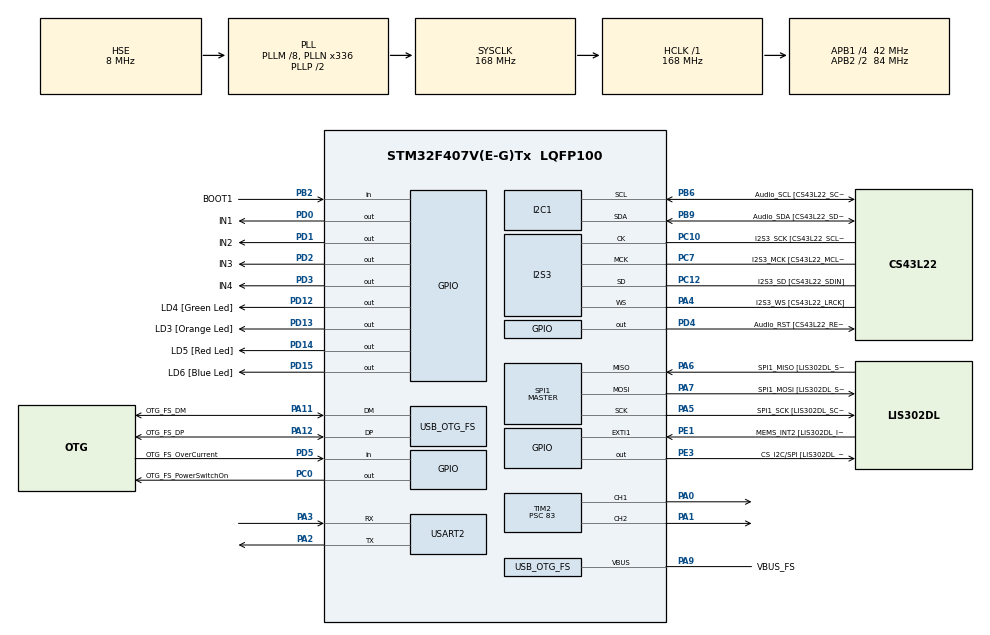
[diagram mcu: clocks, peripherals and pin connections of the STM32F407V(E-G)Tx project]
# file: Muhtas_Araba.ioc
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I2S3.AudioFreq-Half_Duplex_Master=I2S_AUDIOFREQ_96K
I2S3.ErrorAudioFreq=-2.34 %
I2S3.ErrorAudioFreq-Half_Duplex_Master=0.8 %
I2S3.FullDuplexMode=I2S_FULLDUPLEXMODE_DISABLE
I2S3.Instance=SPI$Index
I2S3.RealAudioFreq=93.75 KHz
I2S3.RealAudioFreq-Half_Duplex_Master=96.774 KHz
I2S3.VirtualMode=I2S_MODE_MASTER
Mcu.Family=STM32F4
Mcu.Name=STM32F407V(E-G)Tx
Mcu.Package=LQFP100
NVIC.OTG_FS_IRQn=true\:0\:0\:false\:false\:true\:true\:true\:true
NVIC.PriorityGroup=NVIC_PRIORITYGROUP_0
NVIC.USART2_IRQn=true\:0\:0\:false\:false\:true\:true\:true\:true
PA0-WKUP.Signal=S_TIM2_CH1_ETR
PA1.Signal=S_TIM2_CH2
PA10.GPIO_Label=OTG_FS_ID
PA10.GPIO_Mode=GPIO_MODE_AF_PP
PA10.GPIO_PuPd=GPIO_NOPULL
PA10.GPIO_Speed=GPIO_SPEED_FREQ_LOW
PA10.Signal=USB_OTG_FS_ID
PA11.GPIO_Label=OTG_FS_DM
PA11.GPIO_Mode=GPIO_MODE_AF_PP
PA11.GPIO_PuPd=GPIO_NOPULL
PA11.GPIO_Speed=GPIO_SPEED_FREQ_LOW
PA11.Mode=Host_Only
PA11.Signal=USB_OTG_FS_DM
PA12.GPIO_Label=OTG_FS_DP
PA12.GPIO_Mode=GPIO_MODE_AF_PP
PA12.GPIO_PuPd=GPIO_NOPULL
PA12.GPIO_Speed=GPIO_SPEED_FREQ_LOW
PA12.Mode=Host_Only
PA12.Signal=USB_OTG_FS_DP
PA13.GPIO_Label=SWDIO
PA13.Mode=Serial_Wire
PA13.Signal=SYS_JTMS-SWDIO
PA14.GPIO_Label=SWCLK
PA14.Mode=Serial_Wire
PA14.Signal=SYS_JTCK-SWCLK
PA2.Mode=Asynchronous
PA2.Signal=USART2_TX
PA3.Mode=Asynchronous
PA3.Signal=USART2_RX
PA4.GPIO_Label=I2S3_WS [CS43L22_LRCK]
PA4.GPIO_Mode=GPIO_MODE_AF_PP
PA4.GPIO_PuPd=GPIO_NOPULL
PA4.GPIO_Speed=GPIO_SPEED_FREQ_LOW
PA4.Mode=Half_Duplex_Master
PA4.Signal=I2S3_WS
PA5.GPIO_Label=SPI1_SCK [LIS302DL_SCL/SPC]
PA5.GPIO_Mode=GPIO_MODE_AF_PP
PA5.GPIO_PuPd=GPIO_NOPULL
PA5.GPIO_Speed=GPIO_SPEED_FREQ_LOW
PA5.Mode=Full_Duplex_Master
PA5.Signal=SPI1_SCK
PA6.GPIO_Label=SPI1_MISO [LIS302DL_SDO]
PA6.GPIO_Mode=GPIO_MODE_AF_PP
PA6.GPIO_PuPd=GPIO_NOPULL
PA6.GPIO_Speed=GPIO_SPEED_FREQ_LOW
PA6.Mode=Full_Duplex_Master
PA6.Signal=SPI1_MISO
PA7.GPIO_Label=SPI1_MOSI [LIS302DL_SDA/SDI/SDO]
PA7.GPIO_Mode=GPIO_MODE_AF_PP
PA7.GPIO_PuPd=GPIO_NOPULL
PA7.GPIO_Speed=GPIO_SPEED_FREQ_LOW
PA7.Mode=Full_Duplex_Master
PA7.Signal=SPI1_MOSI
PA9.GPIO_Label=VBUS_FS
PA9.GPIO_Mode=GPIO_MODE_INPUT
PA9.GPIO_PuPd=GPIO_NOPULL
PA9.Mode=Activate_VBUS
PA9.Signal=USB_OTG_FS_VBUS
PB10.GPIO_Label=CLK_IN [MP45DT02_CLK]
PB10.GPIO_Mode=GPIO_MODE_AF_PP
PB10.GPIO_PuPd=GPIO_NOPULL
PB10.GPIO_Speed=GPIO_SPEED_FREQ_LOW
PB10.Signal=I2S2_CK
PB2.GPIO_Label=BOOT1
PB2.GPIO_Mode=GPIO_MODE_INPUT
PB2.GPIO_PuPd=GPIO_NOPULL
PB2.Signal=GPIO_Input
PB3.GPIO_Label=SWO
PB3.Signal=SYS_JTDO-SWO
PB6.GPIO_Label=Audio_SCL [CS43L22_SCL]
PB6.GPIO_Mode=GPIO_MODE_AF_OD
PB6.GPIO_Pu=GPIO_PULLUP
PB6.GPIO_PuPd=GPIO_NOPULL
PB6.GPIO_Speed=GPIO_SPEED_FREQ_LOW
PB6.Mode=I2C
PB6.Signal=I2C1_SCL
PB9.GPIO_Label=Audio_SDA [CS43L22_SDA]
PB9.GPIO_Mode=GPIO_MODE_AF_OD
PB9.GPIO_Pu=GPIO_PULLUP
PB9.GPIO_PuPd=GPIO_NOPULL
PB9.GPIO_Speed=GPIO_SPEED_FREQ_LOW
PB9.Mode=I2C
PB9.Signal=I2C1_SDA
PC0.GPIO_Label=OTG_FS_PowerSwitchOn
PC0.GPIO_PuPd=GPIO_NOPULL
PC0.GPIO_Speed=GPIO_SPEED_FREQ_LOW
PC0.PinState=GPIO_PIN_SET
PC0.Signal=GPIO_Output
PC10.GPIO_Label=I2S3_SCK [CS43L22_SCLK]
PC10.GPIO_Mode=GPIO_MODE_AF_PP
PC10.GPIO_PuPd=GPIO_NOPULL
PC10.GPIO_Speed=GPIO_SPEED_FREQ_LOW
PC10.Mode=Half_Duplex_Master
PC10.Signal=I2S3_CK
PC12.GPIO_Label=I2S3_SD [CS43L22_SDIN]
PC12.GPIO_Mode=GPIO_MODE_AF_PP
PC12.GPIO_PuPd=GPIO_NOPULL
PC12.GPIO_Speed=GPIO_SPEED_FREQ_LOW
PC12.Mode=Half_Duplex_Master
PC12.Signal=I2S3_SD
PC14-OSC32_IN.GPIO_Label=PC14-OSC32_IN
PC14-OSC32_IN.Mode=LSE-External-Oscillator
PC14-OSC32_IN.Signal=RCC_OSC32_IN
PC15-OSC32_OUT.GPIO_Label=PC15-OSC32_OUT
PC15-OSC32_OUT.Mode=LSE-External-Oscillator
PC15-OSC32_OUT.Signal=RCC_OSC32_OUT
PC3.GPIO_Label=PDM_OUT [MP45DT02_DOUT]
PC3.GPIO_Mode=GPIO_MODE_AF_PP
PC3.GPIO_PuPd=GPIO_NOPULL
PC3.GPIO_Speed=GPIO_SPEED_FREQ_LOW
PC3.Signal=I2S2_SD
PC7.GPIO_Label=I2S3_MCK [CS43L22_MCLK]
PC7.GPIO_Mode=GPIO_MODE_AF_PP
PC7.GPIO_PuPd=GPIO_NOPULL
PC7.GPIO_Speed=GPIO_SPEED_FREQ_LOW
PC7.Mode=Master_Clock_Activated
PC7.Signal=I2S3_MCK
PD0.GPIO_Label=IN1
PD0.Signal=GPIO_Output
PD1.GPIO_Label=IN2
PD1.Signal=GPIO_Output
PD12.GPIO_Label=LD4 [Green Led]
PD12.GPIO_PuPd=GPIO_NOPULL
PD12.GPIO_Speed=GPIO_SPEED_FREQ_LOW
PD12.Signal=GPIO_Output
PD13.GPIO_Label=LD3 [Orange Led]
PD13.GPIO_PuPd=GPIO_NOPULL
PD13.GPIO_Speed=GPIO_SPEED_FREQ_LOW
PD13.Signal=GPIO_Output
PD14.GPIO_Label=LD5 [Red Led]
PD14.GPIO_PuPd=GPIO_NOPULL
PD14.GPIO_Speed=GPIO_SPEED_FREQ_LOW
PD14.Signal=GPIO_Output
PD15.GPIO_Label=LD6 [Blue Led]
PD15.GPIO_PuPd=GPIO_NOPULL
PD15.GPIO_Speed=GPIO_SPEED_FREQ_LOW
PD15.Signal=GPIO_Output
PD2.GPIO_Label=IN3
PD2.Signal=GPIO_Output
PD3.GPIO_Label=IN4
PD3.Signal=GPIO_Output
PD4.GPIO_Label=Audio_RST [CS43L22_RESET]
PD4.GPIO_PuPd=GPIO_NOPULL
PD4.GPIO_Speed=GPIO_SPEED_FREQ_LOW
PD4.Signal=GPIO_Output
PD5.GPIO_Label=OTG_FS_OverCurrent
PD5.GPIO_Mode=GPIO_MODE_INPUT
PD5.GPIO_PuPd=GPIO_NOPULL
PD5.Signal=GPIO_Input
PE1.GPIO_Label=MEMS_INT2 [LIS302DL_INT2]
PE1.GPIO_ModeDefaultEXTI=GPIO_MODE_EVT_RISING
PE1.GPIO_PuPd=GPIO_NOPULL
PE1.Signal=GPXTI1
PE3.GPIO_Label=CS_I2C/SPI [LIS302DL_CS_I2C/SPI]
PE3.GPIO_PuPd=GPIO_NOPULL
PE3.GPIO_Speed=GPIO_SPEED_FREQ_LOW
PE3.Signal=GPIO_Output
PH0-OSC_IN.GPIO_Label=PH0-OSC_IN
PH0-OSC_IN.Mode=HSE-External-Oscillator
PH0-OSC_IN.Signal=RCC_OSC_IN
PH1-OSC_OUT.GPIO_Label=PH1-OSC_OUT
PH1-OSC_OUT.Mode=HSE-External-Oscillator
PH1-OSC_OUT.Signal=RCC_OSC_OUT
ProjectManager.HeapSize=0x200
ProjectManager.StackSize=0x400
ProjectManager.TargetToolchain=STM32CubeIDE
RCC.48MHZClocksFreq_Value=48000000
RCC.AHBFreq_Value=168000000
RCC.APB1CLKDivider=RCC_HCLK_DIV4
RCC.APB1Freq_Value=42000000
RCC.APB1TimFreq_Value=84000000
RCC.APB2CLKDivider=RCC_HCLK_DIV2
RCC.APB2Freq_Value=84000000
RCC.APB2TimFreq_Value=168000000
RCC.CortexFreq_Value=168000000
RCC.HCLKFreq_Value=168000000
RCC.HSE_VALUE=8000000
RCC.HSI_VALUE=16000000
RCC.PLLM=8
RCC.PLLN=336
RCC.PLLQ=7
RCC.SYSCLKFreq_VALUE=168000000
RCC.SYSCLKSource=RCC_SYSCLKSOURCE_PLLCLK
RCC.VCOOutputFreq_Value=336000000
SH.S_TIM2_CH1_ETR.0=TIM2_CH1,PWM Generation1 CH1
SH.S_TIM2_CH2.0=TIM2_CH2,PWM Generation2 CH2
SPI1.BaudRatePrescaler-Full_Duplex_Master=SPI_BAUDRATEPRESCALER_2
SPI1.CalculateBaudRate-Full_Duplex_Master=42.0 MBits/s
SPI1.Direction=SPI_DIRECTION_2LINES
SPI1.Mode=SPI_MODE_MASTER
SPI1.Mode-Full_Duplex_Master=SPI_MODE_MASTER
SPI1.VirtualType=VM_MASTER
TIM2.Channel-PWM\ Generation1\ CH1=TIM_CHANNEL_1
TIM2.Channel-PWM\ Generation2\ CH2=TIM_CHANNEL_2
TIM2.Period=999
TIM2.Prescaler=83
USART2.VirtualMode=VM_ASYNC
USB_HOST.BSP.number=1
USB_HOST.USBH_HandleTypeDef-CDC_FS=hUsbHostFS
USB_HOST.VirtualModeFS=Cdc
USB_HOST0.BSP.STBoard=false
USB_HOST0.BSP.api=Unknown
USB_HOST0.BSP.instance=PC0
USB_HOST0.BSP.ip=GPIO
USB_HOST0.BSP.mode=Output
USB_HOST0.BSP.name=Drive_VBUS_FS
USB_HOST0.BSP.solution=PC0
USB_OTG_FS.VirtualMode=Host_Only
USB_OTG_FS.phy_itface=HCD_PHY_EMBEDDED
VP_TIM2_VS_ClockSourceINT.Mode=Internal
VP_USB_HOST_VS_USB_HOST_CDC_FS.Mode=CDC_FS
board=STM32F407G-DISC1

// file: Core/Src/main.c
/* USER CODE BEGIN Header */
/**
  ******************************************************************************
  * @file           : main.c
  * @brief          : Main program body
  ******************************************************************************
  * @attention
  *
  * Copyright (c) 2026 STMicroelectronics.
  * All rights reserved.
  *
  * This software is licensed under terms that can be found in the LICENSE file
  * in the root directory of this software component.
  * If no LICENSE file comes with this software, it is provided AS-IS.
  *
  ******************************************************************************
  */
/* USER CODE END Header */
#include "main.h"
#include "usb_host.h"

I2C_HandleTypeDef hi2c1;

I2S_HandleTypeDef hi2s3;

SPI_HandleTypeDef hspi1;

TIM_HandleTypeDef htim2;

UART_HandleTypeDef huart2;

/* USER CODE BEGIN PV */

uint8_t gelen_veri;
uint8_t yeni_mi=0;
/* USER CODE END PV */

void SystemClock_Config(void);
static void MX_GPIO_Init(void);
static void MX_I2C1_Init(void);
static void MX_I2S3_Init(void);
static void MX_SPI1_Init(void);
static void MX_TIM2_Init(void);
static void MX_USART2_UART_Init(void);
void MX_USB_HOST_Process(void);

/* USER CODE BEGIN PFP */
void Motor_ileri(uint16_t hiz);
void Motor_Geri(uint16_t hiz);
void Motor_Dur(void);
void Motor_Sag(uint16_t hiz);
void Motor_Sol(uint16_t hiz);

/* USER CODE END PFP */

/* USER CODE BEGIN 0 */

	void Motor_ileri(uint16_t hiz)
	{
		HAL_GPIO_WritePin(GPIOD, IN1_Pin, GPIO_PIN_SET);
		HAL_GPIO_WritePin(GPIOD, IN2_Pin, GPIO_PIN_RESET); // İleri gitmesi için geri pini RESET olmalı
		HAL_GPIO_WritePin(GPIOD, IN3_Pin, GPIO_PIN_SET);
		HAL_GPIO_WritePin(GPIOD, IN4_Pin, GPIO_PIN_RESET); // İleri gitmesi için geri pini RESET olmalı

		__HAL_TIM_SET_COMPARE(&htim2,TIM_CHANNEL_1,hiz);
		__HAL_TIM_SET_COMPARE(&htim2,TIM_CHANNEL_2,hiz);
	}

void Motor_Dur(void)
{
	HAL_GPIO_WritePin(GPIOD, IN1_Pin, GPIO_PIN_RESET);
	HAL_GPIO_WritePin(GPIOD, IN2_Pin, GPIO_PIN_RESET);
	HAL_GPIO_WritePin(GPIOD, IN3_Pin, GPIO_PIN_RESET);
	HAL_GPIO_WritePin(GPIOD, IN4_Pin, GPIO_PIN_RESET);

	__HAL_TIM_SET_COMPARE(&htim2,TIM_CHANNEL_1,0);
	__HAL_TIM_SET_COMPARE(&htim2,TIM_CHANNEL_2,0);
}
void Motor_Geri(uint16_t hiz)
{
	   HAL_GPIO_WritePin(GPIOD, IN1_Pin, GPIO_PIN_RESET);
	    HAL_GPIO_WritePin(GPIOD, IN2_Pin, GPIO_PIN_SET);

	    HAL_GPIO_WritePin(GPIOD, IN3_Pin, GPIO_PIN_RESET);
	    HAL_GPIO_WritePin(GPIOD, IN4_Pin, GPIO_PIN_SET);

	    __HAL_TIM_SET_COMPARE(&htim2, TIM_CHANNEL_1, hiz);
	    __HAL_TIM_SET_COMPARE(&htim2, TIM_CHANNEL_2, hiz);

}
void Motor_Sag(uint16_t hiz) {
    // Yön pinleri: İki motor da İLERİ
    HAL_GPIO_WritePin(GPIOD, IN1_Pin, GPIO_PIN_SET);
    HAL_GPIO_WritePin(GPIOD, IN2_Pin, GPIO_PIN_RESET);
    HAL_GPIO_WritePin(GPIOD, IN3_Pin, GPIO_PIN_SET);
    HAL_GPIO_WritePin(GPIOD, IN4_Pin, GPIO_PIN_RESET);

    // Katsayıyı %60'tan %80'e çıkarıyoruz ki kilitlenen motor torku kurtarsın
    uint16_t yumusak_hiz = (hiz * 8) / 10;

    // Eğer kanalların ters ise buradaki hiz ve yumusak_hiz yerlerini değiştirerek test et
    __HAL_TIM_SET_COMPARE(&htim2, TIM_CHANNEL_1, hiz);         // Dış tekerlek
    __HAL_TIM_SET_COMPARE(&htim2, TIM_CHANNEL_2, yumusak_hiz); // İç tekerlek
}
void HAL_UART_RxCpltCallback(UART_HandleTypeDef *huart) {

	if(huart ->Instance == USART2)
	{
		yeni_mi=1;
		HAL_UART_Receive_IT(&huart2, &gelen_veri, 1);
    }
}

void Motor_Sol(uint16_t hiz) {
    // Yön pinleri: İki motor da İLERİ
    HAL_GPIO_WritePin(GPIOD, IN1_Pin, GPIO_PIN_SET);
    HAL_GPIO_WritePin(GPIOD, IN2_Pin, GPIO_PIN_RESET);
    HAL_GPIO_WritePin(GPIOD, IN3_Pin, GPIO_PIN_SET);
    HAL_GPIO_WritePin(GPIOD, IN4_Pin, GPIO_PIN_RESET);

    uint16_t yumusak_hiz = (hiz * 8) / 10;

    __HAL_TIM_SET_COMPARE(&htim2, TIM_CHANNEL_1, yumusak_hiz); // İç tekerlek
    __HAL_TIM_SET_COMPARE(&htim2, TIM_CHANNEL_2, hiz);         // Dış tekerlek
}

/* USER CODE END 0 */

int main(void)
{

  /* MCU Configuration--------------------------------------------------------*/

  /* Reset of all peripherals, Initializes the Flash interface and the Systick. */
  HAL_Init();

  /* Configure the system clock */
  SystemClock_Config();

  /* Initialize all configured peripherals */
  MX_GPIO_Init();
  MX_I2C1_Init();
  MX_I2S3_Init();
  MX_SPI1_Init();
  MX_USB_HOST_Init();
  MX_TIM2_Init();
  MX_USART2_UART_Init();
  /* USER CODE BEGIN 2 */
HAL_TIM_PWM_Start(&htim2, TIM_CHANNEL_1);
HAL_TIM_PWM_Start(&htim2, TIM_CHANNEL_2);

HAL_UART_Receive_IT(&huart2, &gelen_veri, 1); // UARTTAN DINLEMEYE BASLADIK

  /* USER CODE END 2 */

  /* Infinite loop */
  /* USER CODE BEGIN WHILE */
while (1)
{
    MX_USB_HOST_Process();

    if(yeni_mi == 1) {
        yeni_mi = 0; // Bayrağı indir

        // Hem büyük hem küçük harfe baksın, işi şansa bırakmayalım
        if(gelen_veri == 'w' || gelen_veri == 'W')      Motor_ileri(750);
        else if(gelen_veri == 's' || gelen_veri == 'S') Motor_Geri(750);
        else if(gelen_veri == 'a' || gelen_veri == 'A') Motor_Sol(650);
        else if(gelen_veri == 'd' || gelen_veri == 'D') Motor_Sag(650);
        else Motor_Dur(); // 'X' gelirse veya tuş bırakılırsa DUR

        // ÖNEMLİ: Her başarılı işlemden sonra kapıyı tekrar açalım
        HAL_UART_Receive_IT(&huart2, &gelen_veri, 1);
    }

    // UART hata alırsa (kilitlenirse) temizle ve tekrar başlat
    if(__HAL_UART_GET_FLAG(&huart2, UART_FLAG_ORE) != RESET) {
        __HAL_UART_CLEAR_OREFLAG(&huart2);
        HAL_UART_Receive_IT(&huart2, &gelen_veri, 1);
    }
}
  /* USER CODE END 3 */
}

void SystemClock_Config(void)
{
  RCC_OscInitTypeDef RCC_OscInitStruct = {0};
  RCC_ClkInitTypeDef RCC_ClkInitStruct = {0};

  /** Configure the main internal regulator output voltage
  */
  __HAL_RCC_PWR_CLK_ENABLE();
  __HAL_PWR_VOLTAGESCALING_CONFIG(PWR_REGULATOR_VOLTAGE_SCALE1);

  /** Initializes the RCC Oscillators according to the specified parameters
  * in the RCC_OscInitTypeDef structure.
  */
  RCC_OscInitStruct.OscillatorType = RCC_OSCILLATORTYPE_HSE;
  RCC_OscInitStruct.HSEState = RCC_HSE_ON;
  RCC_OscInitStruct.PLL.PLLState = RCC_PLL_ON;
  RCC_OscInitStruct.PLL.PLLSource = RCC_PLLSOURCE_HSE;
  RCC_OscInitStruct.PLL.PLLM = 8;
  RCC_OscInitStruct.PLL.PLLN = 336;
  RCC_OscInitStruct.PLL.PLLP = RCC_PLLP_DIV2;
  RCC_OscInitStruct.PLL.PLLQ = 7;
  if (HAL_RCC_OscConfig(&RCC_OscInitStruct) != HAL_OK)
  {
    Error_Handler();
  }

  /** Initializes the CPU, AHB and APB buses clocks
  */
  RCC_ClkInitStruct.ClockType = RCC_CLOCKTYPE_HCLK|RCC_CLOCKTYPE_SYSCLK
                              |RCC_CLOCKTYPE_PCLK1|RCC_CLOCKTYPE_PCLK2;
  RCC_ClkInitStruct.SYSCLKSource = RCC_SYSCLKSOURCE_PLLCLK;
  RCC_ClkInitStruct.AHBCLKDivider = RCC_SYSCLK_DIV1;
  RCC_ClkInitStruct.APB1CLKDivider = RCC_HCLK_DIV4;
  RCC_ClkInitStruct.APB2CLKDivider = RCC_HCLK_DIV2;

  if (HAL_RCC_ClockConfig(&RCC_ClkInitStruct, FLASH_LATENCY_5) != HAL_OK)
  {
    Error_Handler();
  }
}

static void MX_I2C1_Init(void)
{

  hi2c1.Instance = I2C1;
  hi2c1.Init.ClockSpeed = 100000;
  hi2c1.Init.DutyCycle = I2C_DUTYCYCLE_2;
  hi2c1.Init.OwnAddress1 = 0;
  hi2c1.Init.AddressingMode = I2C_ADDRESSINGMODE_7BIT;
  hi2c1.Init.DualAddressMode = I2C_DUALADDRESS_DISABLE;
  hi2c1.Init.OwnAddress2 = 0;
  hi2c1.Init.GeneralCallMode = I2C_GENERALCALL_DISABLE;
  hi2c1.Init.NoStretchMode = I2C_NOSTRETCH_DISABLE;
  if (HAL_I2C_Init(&hi2c1) != HAL_OK)
  {
    Error_Handler();
  }

}

static void MX_I2S3_Init(void)
{

  hi2s3.Instance = SPI3;
  hi2s3.Init.Mode = I2S_MODE_MASTER_TX;
  hi2s3.Init.Standard = I2S_STANDARD_PHILIPS;
  hi2s3.Init.DataFormat = I2S_DATAFORMAT_16B;
  hi2s3.Init.MCLKOutput = I2S_MCLKOUTPUT_ENABLE;
  hi2s3.Init.AudioFreq = I2S_AUDIOFREQ_96K;
  hi2s3.Init.CPOL = I2S_CPOL_LOW;
  hi2s3.Init.ClockSource = I2S_CLOCK_PLL;
  hi2s3.Init.FullDuplexMode = I2S_FULLDUPLEXMODE_DISABLE;
  if (HAL_I2S_Init(&hi2s3) != HAL_OK)
  {
    Error_Handler();
  }

}

static void MX_SPI1_Init(void)
{

  /* SPI1 parameter configuration*/
  hspi1.Instance = SPI1;
  hspi1.Init.Mode = SPI_MODE_MASTER;
  hspi1.Init.Direction = SPI_DIRECTION_2LINES;
  hspi1.Init.DataSize = SPI_DATASIZE_8BIT;
  hspi1.Init.CLKPolarity = SPI_POLARITY_LOW;
  hspi1.Init.CLKPhase = SPI_PHASE_1EDGE;
  hspi1.Init.NSS = SPI_NSS_SOFT;
  hspi1.Init.BaudRatePrescaler = SPI_BAUDRATEPRESCALER_2;
  hspi1.Init.FirstBit = SPI_FIRSTBIT_MSB;
  hspi1.Init.TIMode = SPI_TIMODE_DISABLE;
  hspi1.Init.CRCCalculation = SPI_CRCCALCULATION_DISABLE;
  hspi1.Init.CRCPolynomial = 10;
  if (HAL_SPI_Init(&hspi1) != HAL_OK)
  {
    Error_Handler();
  }

}

static void MX_TIM2_Init(void)
{

  TIM_ClockConfigTypeDef sClockSourceConfig = {0};
  TIM_MasterConfigTypeDef sMasterConfig = {0};
  TIM_OC_InitTypeDef sConfigOC = {0};

  htim2.Instance = TIM2;
  htim2.Init.Prescaler = 83;
  htim2.Init.CounterMode = TIM_COUNTERMODE_UP;
  htim2.Init.Period = 999;
  htim2.Init.ClockDivision = TIM_CLOCKDIVISION_DIV1;
  htim2.Init.AutoReloadPreload = TIM_AUTORELOAD_PRELOAD_DISABLE;
  if (HAL_TIM_Base_Init(&htim2) != HAL_OK)
  {
    Error_Handler();
  }
  sClockSourceConfig.ClockSource = TIM_CLOCKSOURCE_INTERNAL;
  if (HAL_TIM_ConfigClockSource(&htim2, &sClockSourceConfig) != HAL_OK)
  {
    Error_Handler();
  }
  if (HAL_TIM_PWM_Init(&htim2) != HAL_OK)
  {
    Error_Handler();
  }
  sMasterConfig.MasterOutputTrigger = TIM_TRGO_RESET;
  sMasterConfig.MasterSlaveMode = TIM_MASTERSLAVEMODE_DISABLE;
  if (HAL_TIMEx_MasterConfigSynchronization(&htim2, &sMasterConfig) != HAL_OK)
  {
    Error_Handler();
  }
  sConfigOC.OCMode = TIM_OCMODE_PWM1;
  sConfigOC.Pulse = 0;
  sConfigOC.OCPolarity = TIM_OCPOLARITY_HIGH;
  sConfigOC.OCFastMode = TIM_OCFAST_DISABLE;
  if (HAL_TIM_PWM_ConfigChannel(&htim2, &sConfigOC, TIM_CHANNEL_1) != HAL_OK)
  {
    Error_Handler();
  }
  if (HAL_TIM_PWM_ConfigChannel(&htim2, &sConfigOC, TIM_CHANNEL_2) != HAL_OK)
  {
    Error_Handler();
  }
  HAL_TIM_MspPostInit(&htim2);

}

static void MX_USART2_UART_Init(void)
{

  huart2.Instance = USART2;
  huart2.Init.BaudRate = 115200;
  huart2.Init.WordLength = UART_WORDLENGTH_8B;
  huart2.Init.StopBits = UART_STOPBITS_1;
  huart2.Init.Parity = UART_PARITY_NONE;
  huart2.Init.Mode = UART_MODE_TX_RX;
  huart2.Init.HwFlowCtl = UART_HWCONTROL_NONE;
  huart2.Init.OverSampling = UART_OVERSAMPLING_16;
  if (HAL_UART_Init(&huart2) != HAL_OK)
  {
    Error_Handler();
  }

}

static void MX_GPIO_Init(void)
{
  GPIO_InitTypeDef GPIO_InitStruct = {0};

  /* GPIO Ports Clock Enable */
  __HAL_RCC_GPIOE_CLK_ENABLE();
  __HAL_RCC_GPIOC_CLK_ENABLE();
  __HAL_RCC_GPIOH_CLK_ENABLE();
  __HAL_RCC_GPIOA_CLK_ENABLE();
  __HAL_RCC_GPIOB_CLK_ENABLE();
  __HAL_RCC_GPIOD_CLK_ENABLE();

  /*Configure GPIO pin Output Level */
  HAL_GPIO_WritePin(CS_I2C_SPI_GPIO_Port, CS_I2C_SPI_Pin, GPIO_PIN_RESET);

  /*Configure GPIO pin Output Level */
  HAL_GPIO_WritePin(OTG_FS_PowerSwitchOn_GPIO_Port, OTG_FS_PowerSwitchOn_Pin, GPIO_PIN_SET);

  /*Configure GPIO pin Output Level */
  HAL_GPIO_WritePin(GPIOD, LD4_Pin|LD3_Pin|LD5_Pin|LD6_Pin
                          |IN1_Pin|IN2_Pin|IN3_Pin|IN4_Pin
                          |Audio_RST_Pin, GPIO_PIN_RESET);

  /*Configure GPIO pin : CS_I2C_SPI_Pin */
  GPIO_InitStruct.Pin = CS_I2C_SPI_Pin;
  GPIO_InitStruct.Mode = GPIO_MODE_OUTPUT_PP;
  GPIO_InitStruct.Pull = GPIO_NOPULL;
  GPIO_InitStruct.Speed = GPIO_SPEED_FREQ_LOW;
  HAL_GPIO_Init(CS_I2C_SPI_GPIO_Port, &GPIO_InitStruct);

  /*Configure GPIO pin : OTG_FS_PowerSwitchOn_Pin */
  GPIO_InitStruct.Pin = OTG_FS_PowerSwitchOn_Pin;
  GPIO_InitStruct.Mode = GPIO_MODE_OUTPUT_PP;
  GPIO_InitStruct.Pull = GPIO_NOPULL;
  GPIO_InitStruct.Speed = GPIO_SPEED_FREQ_LOW;
  HAL_GPIO_Init(OTG_FS_PowerSwitchOn_GPIO_Port, &GPIO_InitStruct);

  /*Configure GPIO pin : PDM_OUT_Pin */
  GPIO_InitStruct.Pin = PDM_OUT_Pin;
  GPIO_InitStruct.Mode = GPIO_MODE_AF_PP;
  GPIO_InitStruct.Pull = GPIO_NOPULL;
  GPIO_InitStruct.Speed = GPIO_SPEED_FREQ_LOW;
  GPIO_InitStruct.Alternate = GPIO_AF5_SPI2;
  HAL_GPIO_Init(PDM_OUT_GPIO_Port, &GPIO_InitStruct);

  /*Configure GPIO pin : BOOT1_Pin */
  GPIO_InitStruct.Pin = BOOT1_Pin;
  GPIO_InitStruct.Mode = GPIO_MODE_INPUT;
  GPIO_InitStruct.Pull = GPIO_NOPULL;
  HAL_GPIO_Init(BOOT1_GPIO_Port, &GPIO_InitStruct);

  /*Configure GPIO pin : CLK_IN_Pin */
  GPIO_InitStruct.Pin = CLK_IN_Pin;
  GPIO_InitStruct.Mode = GPIO_MODE_AF_PP;
  GPIO_InitStruct.Pull = GPIO_NOPULL;
  GPIO_InitStruct.Speed = GPIO_SPEED_FREQ_LOW;
  GPIO_InitStruct.Alternate = GPIO_AF5_SPI2;
  HAL_GPIO_Init(CLK_IN_GPIO_Port, &GPIO_InitStruct);

  /*Configure GPIO pins : LD4_Pin LD3_Pin LD5_Pin LD6_Pin
                           IN1_Pin IN2_Pin IN3_Pin IN4_Pin
                           Audio_RST_Pin */
  GPIO_InitStruct.Pin = LD4_Pin|LD3_Pin|LD5_Pin|LD6_Pin
                          |IN1_Pin|IN2_Pin|IN3_Pin|IN4_Pin
                          |Audio_RST_Pin;
  GPIO_InitStruct.Mode = GPIO_MODE_OUTPUT_PP;
  GPIO_InitStruct.Pull = GPIO_NOPULL;
  GPIO_InitStruct.Speed = GPIO_SPEED_FREQ_LOW;
  HAL_GPIO_Init(GPIOD, &GPIO_InitStruct);

  /*Configure GPIO pin : OTG_FS_OverCurrent_Pin */
  GPIO_InitStruct.Pin = OTG_FS_OverCurrent_Pin;
  GPIO_InitStruct.Mode = GPIO_MODE_INPUT;
  GPIO_InitStruct.Pull = GPIO_NOPULL;
  HAL_GPIO_Init(OTG_FS_OverCurrent_GPIO_Port, &GPIO_InitStruct);

  /*Configure GPIO pin : MEMS_INT2_Pin */
  GPIO_InitStruct.Pin = MEMS_INT2_Pin;
  GPIO_InitStruct.Mode = GPIO_MODE_EVT_RISING;
  GPIO_InitStruct.Pull = GPIO_NOPULL;
  HAL_GPIO_Init(MEMS_INT2_GPIO_Port, &GPIO_InitStruct);

}

void Error_Handler(void)
{
  __disable_irq();
  while (1)
  {
  }
}
